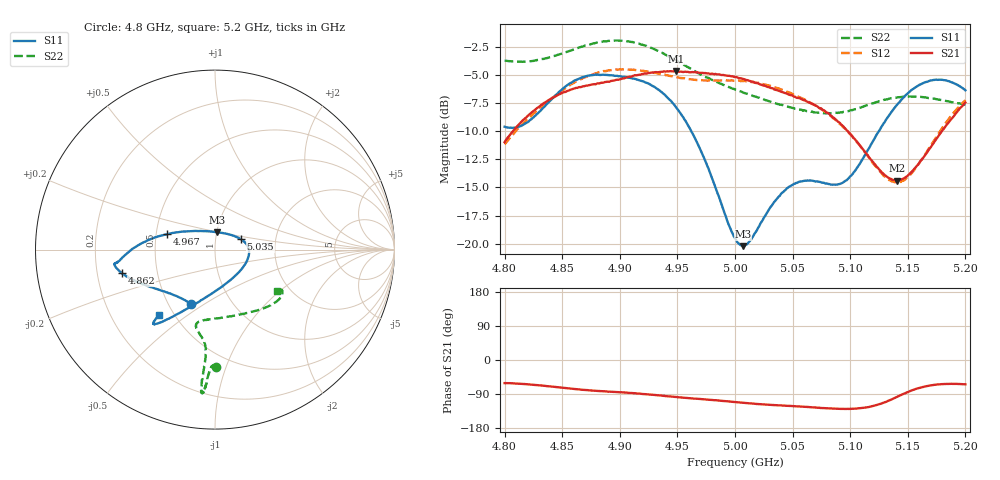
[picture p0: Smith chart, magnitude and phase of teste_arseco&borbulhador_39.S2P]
! Network Analyzer HP8722D
! Hewlett-Packard
! Data name: Linha & Wilkinson
! Saver's name: Rodrigo Anjos
! Comments: Teste da utilização de aquisição
! continua pelo VNA HP8722D
! Time and date: 15/4/2025 15:57
!  Frequency  S11  S21  S12  S22
# HZ  S  MA R 50
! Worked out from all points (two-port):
!   401 points, 4.8 GHz to 5.2 GHz, reference 50 ohm
!   highest |S21| = -4.62 dB at 4.949 GHz (marker M1); lowest = -14.4 dB at 5.141 GHz (marker M2)
!   |S21| within 3 dB of the highest: 4.832 GHz to 5.069 GHz (236.5 MHz wide, 4.78 % of centre); 5.198356 GHz to end of sweep
!   lowest |S11| = -20.2 dB at 5.007 GHz (marker M3), VSWR 1.22, Z = 50.4 + j9.82 ohm
!   |S11| at or under -10 dB: 4.962 GHz to 5.125 GHz (162.7 MHz wide, 3.23 % of centre)
!   |S22| runs from -8.4 to -1.9 dB; largest |S21 - S12| = 0.88
!   S11 on the Smith chart (normalised r, x): 4.8 GHz: 0.64, -0.44; 4.862 GHz: 0.31, -0.11; 4.967 GHz: 0.57, +0.11; 5.035 GHz: 1.32, +0.16; 5.2 GHz: 0.41, -0.39
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4.8e9  0.3317 -114.1  0.2831 -61.0  0.2771 -175.2  0.6545 -89.6
4.819e9  0.3456 -133.8  0.3657 -64.0  0.3548 -173.5  0.6478 -91.2
4.84e9  0.4354 -153.1  0.4406 -69.7  0.4407 -173.8  0.6783 -92.6
4.862e9  0.5359 -165.9  0.4946 -76.9  0.5273 -176.7  0.7404 -93.6
4.867e9  0.5496 -167.8  0.4996 -78.5  0.5417 -177.7  0.7535 -93.8
4.903e9  0.554 -172.3  0.5441 -85.7  0.5973 175.1  0.8004 -95.3
4.934e9  0.4836 -178.1  0.581 -93.5  0.5712 171.9  0.7185 -95.7
4.949e9  0.4043 174.7  0.5875 -97.6  0.5524 172.1  0.6544 -95.4
4.967e9  0.2825 162.2  0.5788 -102.2  0.5356 173.9  0.5791 -95.0
5e9  0.1058 106.0  0.552 -111.0  0.5333 176.4  0.4859 -99.3
5.007e9  0.09738 82.1  0.5423 -112.8  0.53 176.1  0.4709 -100.9
5.014e9  0.1042 60.0  0.5287 -114.7  0.5257 176.1  0.4588 -102.5
5.035e9  0.1553 22.2  0.4844 -119.1  0.4961 175.0  0.4223 -103.7
5.051e9  0.1843 5.2  0.4523 -121.8  0.4603 174.3  0.4012 -99.9
5.067e9  0.1907 -12.0  0.4186 -124.7  0.4215 173.8  0.3876 -91.7
5.087e9  0.1829 -44.5  0.3582 -128.5  0.3568 173.7  0.3822 -76.8
5.097e9  0.1916 -65.5  0.3199 -129.1  0.3182 174.4  0.3883 -68.4
5.134e9  0.3746 -116.4  0.1954 -106.6  0.1917 -159.3  0.4426 -43.3
5.141e9  0.4178 -120.4  0.191 -96.7  0.1874 -148.3  0.4483 -40.3
5.153e9  0.4823 -125.2  0.208 -80.7  0.205 -129.8  0.4523 -36.0
5.171e9  0.534 -129.0  0.2741 -66.6  0.2793 -112.4  0.4434 -31.9
5.2e9  0.482 -130.6  0.4252 -64.2  0.4357 -106.2  0.4157 -33.5
